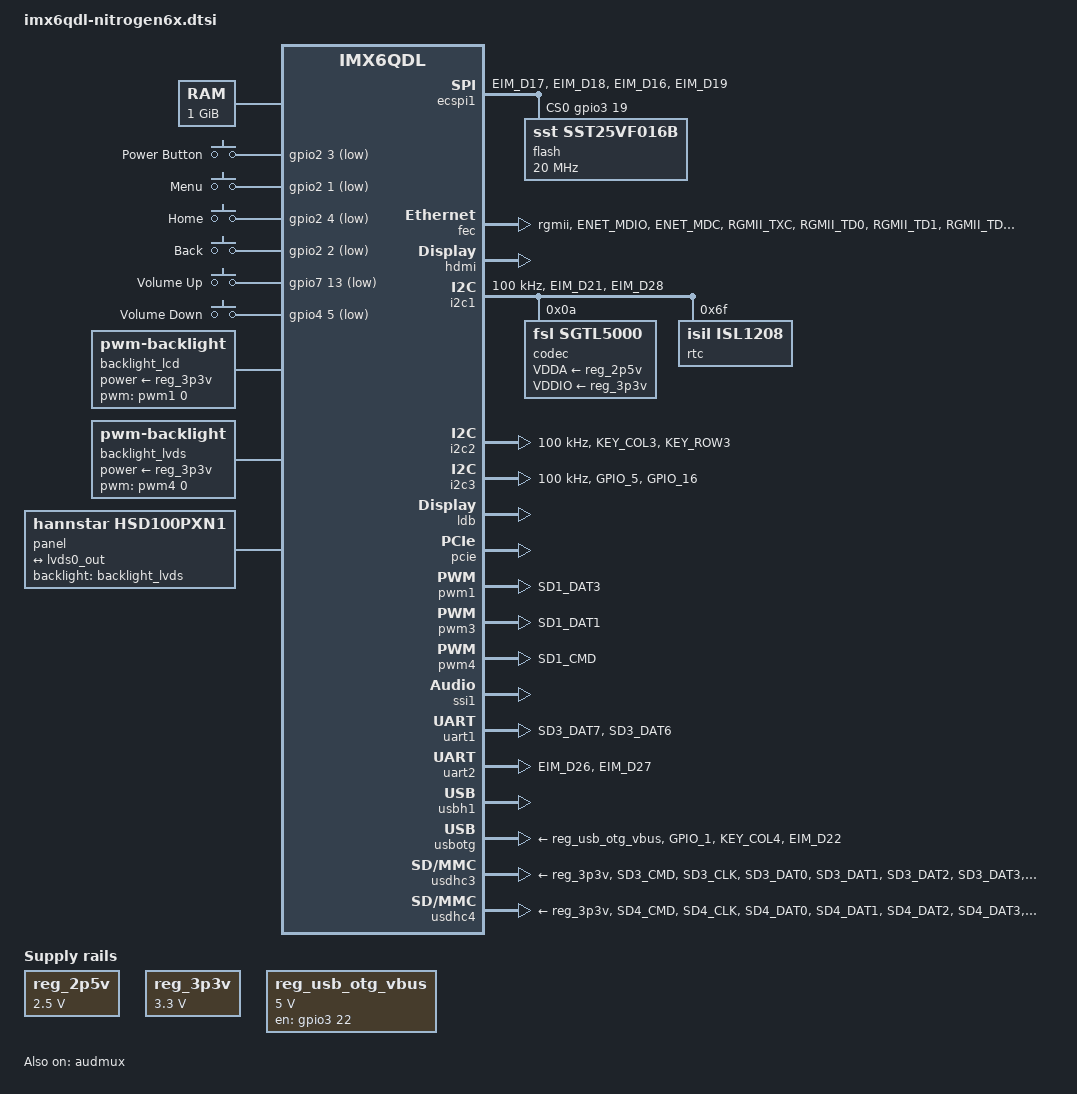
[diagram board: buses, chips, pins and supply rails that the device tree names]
/*
 * Copyright 2013 Boundary Devices, Inc.
 * Copyright 2011 Freescale Semiconductor, Inc.
 * Copyright 2011 Linaro Ltd.
 *
 * The code contained herein is licensed under the GNU General Public
 * License. You may obtain a copy of the GNU General Public License
 * Version 2 or later at the following locations:
 *
 * http://www.opensource.org/licenses/gpl-license.html
 * http://www.gnu.org/copyleft/gpl.html
 */
#include <dt-bindings/gpio/gpio.h>
#include <dt-bindings/input/input.h>

/ {
	chosen {
		stdout-path = &uart2;
	};

	memory {
		reg = <0x10000000 0x40000000>;
	};

	regulators {
		compatible = "simple-bus";
		#address-cells = <1>;
		#size-cells = <0>;

		reg_2p5v: regulator@0 {
			compatible = "regulator-fixed";
			reg = <0>;
			regulator-name = "2P5V";
			regulator-min-microvolt = <2500000>;
			regulator-max-microvolt = <2500000>;
			regulator-always-on;
		};

		reg_3p3v: regulator@1 {
			compatible = "regulator-fixed";
			reg = <1>;
			regulator-name = "3P3V";
			regulator-min-microvolt = <3300000>;
			regulator-max-microvolt = <3300000>;
			regulator-always-on;
		};

		reg_usb_otg_vbus: regulator@2 {
			compatible = "regulator-fixed";
			reg = <2>;
			regulator-name = "usb_otg_vbus";
			regulator-min-microvolt = <5000000>;
			regulator-max-microvolt = <5000000>;
			gpio = <&gpio3 22 0>;
			enable-active-high;
		};
	};

	gpio-keys {
		compatible = "gpio-keys";
		pinctrl-names = "default";
		pinctrl-0 = <&pinctrl_gpio_keys>;

		power {
			label = "Power Button";
			gpios = <&gpio2 3 GPIO_ACTIVE_LOW>;
			linux,code = <KEY_POWER>;
			gpio-key,wakeup;
		};

		menu {
			label = "Menu";
			gpios = <&gpio2 1 GPIO_ACTIVE_LOW>;
			linux,code = <KEY_MENU>;
		};

		home {
			label = "Home";
			gpios = <&gpio2 4 GPIO_ACTIVE_LOW>;
			linux,code = <KEY_HOME>;
		};

		back {
			label = "Back";
			gpios = <&gpio2 2 GPIO_ACTIVE_LOW>;
			linux,code = <KEY_BACK>;
		};

		volume-up {
			label = "Volume Up";
			gpios = <&gpio7 13 GPIO_ACTIVE_LOW>;
			linux,code = <KEY_VOLUMEUP>;
		};

		volume-down {
			label = "Volume Down";
			gpios = <&gpio4 5 GPIO_ACTIVE_LOW>;
			linux,code = <KEY_VOLUMEDOWN>;
		};
	};

	sound {
		compatible = "fsl,imx6q-nitrogen6x-sgtl5000",
			     "fsl,imx-audio-sgtl5000";
		model = "imx6q-nitrogen6x-sgtl5000";
		ssi-controller = <&ssi1>;
		audio-codec = <&codec>;
		audio-routing =
			"MIC_IN", "Mic Jack",
			"Mic Jack", "Mic Bias",
			"Headphone Jack", "HP_OUT";
		mux-int-port = <1>;
		mux-ext-port = <3>;
	};

	backlight_lcd {
		compatible = "pwm-backlight";
		pwms = <&pwm1 0 5000000>;
		brightness-levels = <0 4 8 16 32 64 128 255>;
		default-brightness-level = <7>;
		power-supply = <&reg_3p3v>;
		status = "okay";
	};

	backlight_lvds: backlight_lvds {
		compatible = "pwm-backlight";
		pwms = <&pwm4 0 5000000>;
		brightness-levels = <0 4 8 16 32 64 128 255>;
		default-brightness-level = <7>;
		power-supply = <&reg_3p3v>;
		status = "okay";
	};

	panel {
		compatible = "hannstar,hsd100pxn1";
		backlight = <&backlight_lvds>;

		port {
			panel_in: endpoint {
				remote-endpoint = <&lvds0_out>;
			};
		};
	};
};

&audmux {
	pinctrl-names = "default";
	pinctrl-0 = <&pinctrl_audmux>;
	status = "okay";
};

&ecspi1 {
	fsl,spi-num-chipselects = <1>;
	cs-gpios = <&gpio3 19 0>;
	pinctrl-names = "default";
	pinctrl-0 = <&pinctrl_ecspi1>;
	status = "okay";

	flash: m25p80@0 {
		compatible = "sst,sst25vf016b";
		spi-max-frequency = <20000000>;
		reg = <0>;
	};
};

&fec {
	pinctrl-names = "default";
	pinctrl-0 = <&pinctrl_enet>;
	phy-mode = "rgmii";
	phy-reset-gpios = <&gpio1 27 0>;
	txen-skew-ps = <0>;
	txc-skew-ps = <3000>;
	rxdv-skew-ps = <0>;
	rxc-skew-ps = <3000>;
	rxd0-skew-ps = <0>;
	rxd1-skew-ps = <0>;
	rxd2-skew-ps = <0>;
	rxd3-skew-ps = <0>;
	txd0-skew-ps = <0>;
	txd1-skew-ps = <0>;
	txd2-skew-ps = <0>;
	txd3-skew-ps = <0>;
	interrupts-extended = <&gpio1 6 IRQ_TYPE_LEVEL_HIGH>,
			      <&intc 0 119 IRQ_TYPE_LEVEL_HIGH>;
	status = "okay";
};

&hdmi {
	ddc-i2c-bus = <&i2c2>;
	status = "okay";
};

&i2c1 {
	clock-frequency = <100000>;
	pinctrl-names = "default";
	pinctrl-0 = <&pinctrl_i2c1>;
	status = "okay";

	codec: sgtl5000@0a {
		compatible = "fsl,sgtl5000";
		reg = <0x0a>;
		clocks = <&clks 201>;
		VDDA-supply = <&reg_2p5v>;
		VDDIO-supply = <&reg_3p3v>;
	};

	rtc: rtc@6f {
		compatible = "isil,isl1208";
		reg = <0x6f>;
	};
};

&i2c2 {
	clock-frequency = <100000>;
	pinctrl-names = "default";
	pinctrl-0 = <&pinctrl_i2c2>;
	status = "okay";
};

&i2c3 {
	clock-frequency = <100000>;
	pinctrl-names = "default";
	pinctrl-0 = <&pinctrl_i2c3>;
	status = "okay";
};

&iomuxc {
	pinctrl-names = "default";
	pinctrl-0 = <&pinctrl_hog>;

	imx6q-nitrogen6x {
		pinctrl_hog: hoggrp {
			fsl,pins = <
				/* SGTL5000 sys_mclk */
				MX6QDL_PAD_GPIO_0__CCM_CLKO1    0x030b0
			>;
		};

		pinctrl_audmux: audmuxgrp {
			fsl,pins = <
				MX6QDL_PAD_CSI0_DAT7__AUD3_RXD		0x130b0
				MX6QDL_PAD_CSI0_DAT4__AUD3_TXC		0x130b0
				MX6QDL_PAD_CSI0_DAT5__AUD3_TXD		0x110b0
				MX6QDL_PAD_CSI0_DAT6__AUD3_TXFS		0x130b0
			>;
		};

		pinctrl_ecspi1: ecspi1grp {
			fsl,pins = <
				MX6QDL_PAD_EIM_D17__ECSPI1_MISO		0x100b1
				MX6QDL_PAD_EIM_D18__ECSPI1_MOSI		0x100b1
				MX6QDL_PAD_EIM_D16__ECSPI1_SCLK		0x100b1
				MX6QDL_PAD_EIM_D19__GPIO3_IO19  0x000b1	/* CS */
			>;
		};

		pinctrl_enet: enetgrp {
			fsl,pins = <
				MX6QDL_PAD_ENET_MDIO__ENET_MDIO		0x100b0
				MX6QDL_PAD_ENET_MDC__ENET_MDC		0x100b0
				MX6QDL_PAD_RGMII_TXC__RGMII_TXC		0x100b0
				MX6QDL_PAD_RGMII_TD0__RGMII_TD0		0x100b0
				MX6QDL_PAD_RGMII_TD1__RGMII_TD1		0x100b0
				MX6QDL_PAD_RGMII_TD2__RGMII_TD2		0x100b0
				MX6QDL_PAD_RGMII_TD3__RGMII_TD3		0x100b0
				MX6QDL_PAD_RGMII_TX_CTL__RGMII_TX_CTL	0x100b0
				MX6QDL_PAD_ENET_REF_CLK__ENET_TX_CLK	0x100b0
				MX6QDL_PAD_RGMII_RXC__RGMII_RXC		0x1b0b0
				MX6QDL_PAD_RGMII_RD0__RGMII_RD0		0x1b0b0
				MX6QDL_PAD_RGMII_RD1__RGMII_RD1		0x1b0b0
				MX6QDL_PAD_RGMII_RD2__RGMII_RD2		0x1b0b0
				MX6QDL_PAD_RGMII_RD3__RGMII_RD3		0x1b0b0
				MX6QDL_PAD_RGMII_RX_CTL__RGMII_RX_CTL	0x1b0b0
				/* Phy reset */
				MX6QDL_PAD_ENET_RXD0__GPIO1_IO27	0x000b0
				MX6QDL_PAD_GPIO_6__ENET_IRQ		0x000b1
			>;
		};

		pinctrl_gpio_keys: gpio_keysgrp {
			fsl,pins = <
				/* Power Button */
				MX6QDL_PAD_NANDF_D3__GPIO2_IO03		0x1b0b0
				/* Menu Button */
				MX6QDL_PAD_NANDF_D1__GPIO2_IO01		0x1b0b0
				/* Home Button */
				MX6QDL_PAD_NANDF_D4__GPIO2_IO04		0x1b0b0
				/* Back Button */
				MX6QDL_PAD_NANDF_D2__GPIO2_IO02		0x1b0b0
				/* Volume Up Button */
				MX6QDL_PAD_GPIO_18__GPIO7_IO13		0x1b0b0
				/* Volume Down Button */
				MX6QDL_PAD_GPIO_19__GPIO4_IO05		0x1b0b0
			>;
		};

		pinctrl_i2c1: i2c1grp {
			fsl,pins = <
				MX6QDL_PAD_EIM_D21__I2C1_SCL		0x4001b8b1
				MX6QDL_PAD_EIM_D28__I2C1_SDA		0x4001b8b1
			>;
		};

		pinctrl_i2c2: i2c2grp {
			fsl,pins = <
				MX6QDL_PAD_KEY_COL3__I2C2_SCL		0x4001b8b1
				MX6QDL_PAD_KEY_ROW3__I2C2_SDA		0x4001b8b1
			>;
		};

		pinctrl_i2c3: i2c3grp {
			fsl,pins = <
				MX6QDL_PAD_GPIO_5__I2C3_SCL		0x4001b8b1
				MX6QDL_PAD_GPIO_16__I2C3_SDA		0x4001b8b1
			>;
		};

		pinctrl_pwm1: pwm1grp {
			fsl,pins = <
				MX6QDL_PAD_SD1_DAT3__PWM1_OUT 0x1b0b1
			>;
		};

		pinctrl_pwm3: pwm3grp {
			fsl,pins = <
				MX6QDL_PAD_SD1_DAT1__PWM3_OUT 0x1b0b1
			>;
		};

		pinctrl_pwm4: pwm4grp {
			fsl,pins = <
				MX6QDL_PAD_SD1_CMD__PWM4_OUT 0x1b0b1
			>;
		};

		pinctrl_uart1: uart1grp {
			fsl,pins = <
				MX6QDL_PAD_SD3_DAT7__UART1_TX_DATA	0x1b0b1
				MX6QDL_PAD_SD3_DAT6__UART1_RX_DATA	0x1b0b1
			>;
		};

		pinctrl_uart2: uart2grp {
			fsl,pins = <
				MX6QDL_PAD_EIM_D26__UART2_TX_DATA	0x1b0b1
				MX6QDL_PAD_EIM_D27__UART2_RX_DATA	0x1b0b1
			>;
		};

		pinctrl_usbotg: usbotggrp {
			fsl,pins = <
				MX6QDL_PAD_GPIO_1__USB_OTG_ID	0x17059
				MX6QDL_PAD_KEY_COL4__USB_OTG_OC	0x1b0b0
				/* power enable, high active */
				MX6QDL_PAD_EIM_D22__GPIO3_IO22  0x000b0
			>;
		};

		pinctrl_usdhc3: usdhc3grp {
			fsl,pins = <
				MX6QDL_PAD_SD3_CMD__SD3_CMD		0x17059
				MX6QDL_PAD_SD3_CLK__SD3_CLK		0x10059
				MX6QDL_PAD_SD3_DAT0__SD3_DATA0		0x17059
				MX6QDL_PAD_SD3_DAT1__SD3_DATA1		0x17059
				MX6QDL_PAD_SD3_DAT2__SD3_DATA2		0x17059
				MX6QDL_PAD_SD3_DAT3__SD3_DATA3		0x17059
				MX6QDL_PAD_SD3_DAT5__GPIO7_IO00 0x1b0b0	/* CD */
			>;
		};

		pinctrl_usdhc4: usdhc4grp {
			fsl,pins = <
				MX6QDL_PAD_SD4_CMD__SD4_CMD		0x17059
				MX6QDL_PAD_SD4_CLK__SD4_CLK		0x10059
				MX6QDL_PAD_SD4_DAT0__SD4_DATA0		0x17059
				MX6QDL_PAD_SD4_DAT1__SD4_DATA1		0x17059
				MX6QDL_PAD_SD4_DAT2__SD4_DATA2		0x17059
				MX6QDL_PAD_SD4_DAT3__SD4_DATA3		0x17059
				MX6QDL_PAD_NANDF_D6__GPIO2_IO06 0x1b0b0	/* CD */
			>;
		};
	};
};

&ldb {
	status = "okay";

	lvds-channel@0 {
		fsl,data-mapping = "spwg";
		fsl,data-width = <18>;
		status = "okay";

		port@4 {
			reg = <4>;

			lvds0_out: endpoint {
				remote-endpoint = <&panel_in>;
			};
		};
	};
};

&pcie {
	status = "okay";
};

&pwm1 {
	pinctrl-names = "default";
	pinctrl-0 = <&pinctrl_pwm1>;
	status = "okay";
};

&pwm3 {
	pinctrl-names = "default";
	pinctrl-0 = <&pinctrl_pwm3>;
	status = "okay";
};

&pwm4 {
	pinctrl-names = "default";
	pinctrl-0 = <&pinctrl_pwm4>;
	status = "okay";
};

&ssi1 {
	status = "okay";
};

&uart1 {
	pinctrl-names = "default";
	pinctrl-0 = <&pinctrl_uart1>;
	status = "okay";
};

&uart2 {
	pinctrl-names = "default";
	pinctrl-0 = <&pinctrl_uart2>;
	status = "okay";
};

&usbh1 {
	status = "okay";
};

&usbotg {
	vbus-supply = <&reg_usb_otg_vbus>;
	pinctrl-names = "default";
	pinctrl-0 = <&pinctrl_usbotg>;
	disable-over-current;
	status = "okay";
};

&usdhc3 {
	pinctrl-names = "default";
	pinctrl-0 = <&pinctrl_usdhc3>;
	cd-gpios = <&gpio7 0 0>;
	vmmc-supply = <&reg_3p3v>;
	status = "okay";
};

&usdhc4 {
	pinctrl-names = "default";
	pinctrl-0 = <&pinctrl_usdhc4>;
	cd-gpios = <&gpio2 6 0>;
	vmmc-supply = <&reg_3p3v>;
	status = "okay";
};
